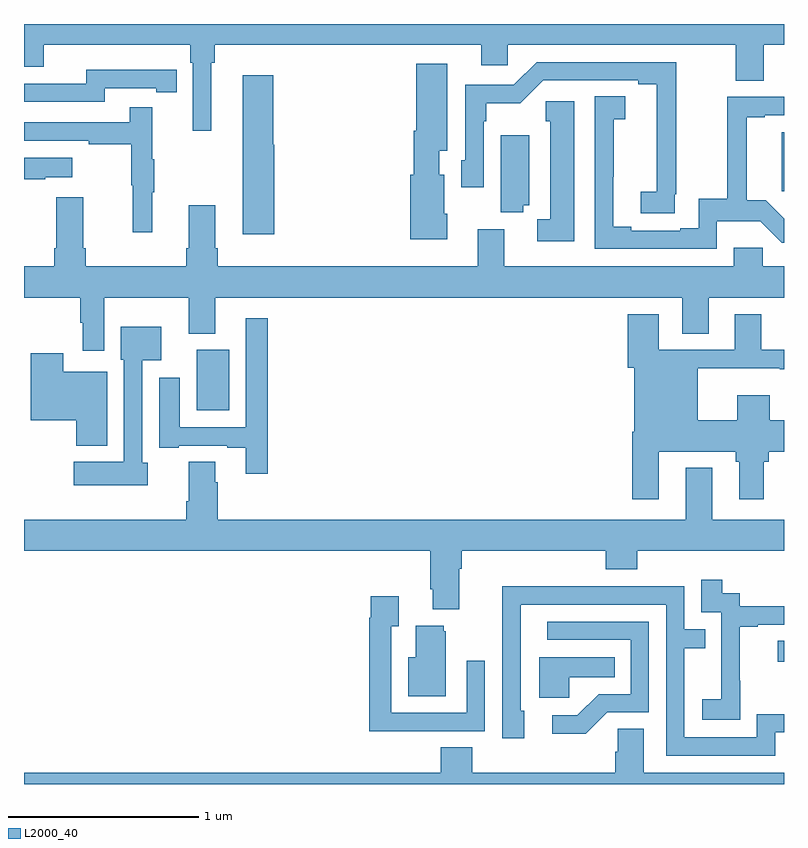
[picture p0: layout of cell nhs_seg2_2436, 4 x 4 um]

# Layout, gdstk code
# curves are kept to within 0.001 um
import gdstk
lib = gdstk.Library(unit=1e-6, precision=1e-09)
def R(c, l, rs):  # rectangles x0, y0, x1, y1
    for r in rs: c.add(gdstk.rectangle(r[:2], r[2:], *l))
def P(c, l, *ps):  # polygons
    for p in ps: c.add(gdstk.Polygon(p, *l))
L2000_40 = (2000, 40)

nhs_seg2_2436 = lib.new_cell('nhs_seg2_2436')
R(nhs_seg2_2436, L2000_40, [(242.967,588.443,243,588.553), (239.909,589.766,240.079,590.086), (242.987,590.919,243,591.229)])
P(nhs_seg2_2436, L2000_40, [(239,591.575),(239.104,591.575),(239.104,591.692),(239.876,591.692),(239.876,591.596),(239.889,591.596),(239.889,591.237),(239.986,591.237),(239.986,591.596),(240.005,591.596),(240.005,591.692),(241.406,591.692),(241.406,591.582),(241.545,591.582),(241.545,591.692),(242.746,591.692),(242.746,591.502),(242.893,591.502),(242.893,591.692),(243,591.692),(243,591.8),(239,591.8)],
  [(242.426,590.905),(242.432,590.905),(242.432,591.6),(241.698,591.6),(241.578,591.48),(241.323,591.48),(241.323,591.084),(241.302,591.084),(241.302,590.94),(241.419,590.94),(241.419,591.287),(241.432,591.287),(241.432,591.383),(241.613,591.383),(241.734,591.504),(242.234,591.504),(242.234,591.484),(242.33,591.484),(242.329,590.918),(242.247,590.918),(242.247,590.803),(242.426,590.803)],
  [(241.228,590.802),(241.212,590.802),(241.212,591.006),(241.186,591.006),(241.186,591.134),(241.228,591.134),(241.228,591.592),(241.064,591.592),(241.064,591.238),(241.052,591.238),(241.052,591.006),(241.034,591.006),(241.034,590.666),(241.228,590.666)],
  [(239.424,591.462),(239.696,591.462),(239.696,591.442),(239.804,591.442),(239.804,591.558),(239.696,591.558),(239.696,591.559),(239.328,591.559),(239.328,591.486),(239,591.486),(239,591.39),(239.424,591.39)],
  [(240.316,591.165),(240.311,591.165),(240.311,591.529),(240.152,591.529),(240.152,590.694),(240.316,590.694)],
  [(242.646,590.762),(242.875,590.762),(242.988,590.649),(243,590.649),(243,590.775),(242.903,590.872),(242.804,590.872),(242.804,591.309),(242.899,591.309),(242.899,591.321),(243,591.321),(243,591.417),(242.701,591.417),(242.701,590.879),(242.55,590.879),(242.55,590.726),(242.453,590.726),(242.453,590.712),(242.197,590.712),(242.197,590.732),(242.101,590.732),(242.101,590.995),(242.103,590.995),(242.103,591.299),(242.164,591.299),(242.164,591.419),(242.004,591.419),(242.004,590.616),(242.646,590.616)],
  [(241.897,591.394),(241.747,591.394),(241.747,591.288),(241.769,591.288),(241.769,590.772),(241.701,590.772),(241.701,590.657),(241.897,590.657)],
  [(239.675,590.915),(239.686,590.915),(239.686,591.089),(239.675,591.089),(239.675,591.361),(239.557,591.361),(239.557,591.282),(239,591.282),(239,591.186),(239.341,591.186),(239.341,591.166),(239.565,591.166),(239.565,590.952),(239.572,590.952),(239.572,590.703),(239.675,590.703)],
  [(241.628,590.846),(241.66,590.846),(241.66,591.214),(241.508,591.214),(241.508,590.809),(241.628,590.809)],
  [(239.111,590.993),(239.254,590.993),(239.254,591.097),(239,591.097),(239,590.983),(239.111,590.983)],
  [(239.422,590.36),(239.867,590.36),(239.867,590.171),(240.007,590.171),(240.007,590.36),(242.465,590.36),(242.465,590.17),(242.605,590.17),(242.605,590.36),(243,590.36),(243,590.524),(242.887,590.524),(242.887,590.622),(242.735,590.622),(242.735,590.524),(241.528,590.524),(241.528,590.719),(241.388,590.719),(241.388,590.524),(240.02,590.524),(240.02,590.62),(240.007,590.62),(240.007,590.845),(239.867,590.845),(239.867,590.62),(239.855,590.62),(239.855,590.524),(239.324,590.524),(239.324,590.62),(239.311,590.62),(239.311,590.887),(239.171,590.887),(239.171,590.62),(239.159,590.62),(239.159,590.524),(239,590.524),(239,590.36),(239.297,590.36),(239.297,590.228),(239.309,590.228),(239.309,590.079),(239.422,590.079)],
  [(242.341,589.55),(242.746,589.55),(242.746,589.497),(242.765,589.497),(242.765,589.299),(242.893,589.299),(242.893,589.497),(242.919,589.497),(242.919,589.55),(243,589.55),(243,589.714),(242.924,589.714),(242.924,589.846),(242.753,589.846),(242.753,589.714),(242.545,589.714),(242.545,589.988),(242.977,589.988),(242.977,589.984),(243,589.984),(243,590.085),(242.881,590.085),(242.881,590.272),(242.741,590.272),(242.741,590.085),(242.341,590.085),(242.341,590.272),(242.177,590.272),(242.177,589.992),(242.213,589.992),(242.213,589.654),(242.201,589.654),(242.201,589.299),(242.341,589.299)],
  [(240.284,590.251),(240.168,590.251),(240.168,589.677),(239.821,589.677),(239.821,589.939),(239.711,589.939),(239.711,589.569),(239.815,589.569),(239.815,589.581),(240.071,589.581),(240.071,589.569),(240.167,589.569),(240.167,589.434),(240.284,589.434)],
  [(239.65,589.491),(239.622,589.491),(239.622,590.03),(239.722,590.03),(239.722,590.206),(239.51,590.206),(239.51,590.034),(239.526,590.034),(239.526,589.495),(239.262,589.495),(239.262,589.373),(239.65,589.373)],
  [(239.437,589.969),(239.206,589.969),(239.206,590.068),(239.036,590.068),(239.036,589.715),(239.276,589.715),(239.276,589.58),(239.437,589.58)],
  [(241.291,588.932),(241.304,588.932),(241.304,589.028),(242.063,589.028),(242.063,588.929),(242.228,588.929),(242.228,589.028),(243,589.028),(243,589.192),(242.623,589.192),(242.623,589.465),(242.483,589.465),(242.483,589.192),(240.02,589.192),(240.02,589.388),(240.007,589.388),(240.007,589.496),(239.867,589.496),(239.867,589.288),(239.855,589.288),(239.855,589.192),(239,589.192),(239,589.028),(241.139,589.028),(241.139,588.826),(241.151,588.826),(241.151,588.719),(241.291,588.719)],
  [(242.769,588.343),(242.768,588.343),(242.768,588.627),(242.863,588.627),(242.863,588.639),(243,588.639),(243,588.735),(242.766,588.735),(242.766,588.804),(242.674,588.804),(242.674,588.874),(242.565,588.874),(242.565,588.705),(242.67,588.705),(242.67,588.476),(242.669,588.476),(242.669,588.247),(242.571,588.247),(242.571,588.137),(242.769,588.137)],
  [(242.953,588.072),(243,588.072),(243,588.168),(242.856,588.168),(242.856,588.045),(242.475,588.045),(242.475,588.514),(242.585,588.514),(242.585,588.615),(242.475,588.615),(242.475,588.84),(241.979,588.84),(241.979,588.842),(241.516,588.842),(241.516,588.535),(241.518,588.535),(241.518,588.042),(241.633,588.042),(241.633,588.186),(241.614,588.186),(241.614,588.49),(241.615,588.49),(241.615,588.744),(242.379,588.744),(242.379,587.949),(242.953,587.949)],
  [(241.109,588.078),(241.425,588.078),(241.425,588.448),(241.329,588.448),(241.329,588.174),(240.933,588.174),(240.933,588.631),(240.973,588.631),(240.973,588.787),(240.825,588.787),(240.825,588.674),(240.817,588.674),(240.817,588.077),(241.109,588.077)],
  [(242.005,588.112),(242.07,588.177),(242.289,588.177),(242.289,588.654),(241.755,588.654),(241.755,588.558),(242.193,588.558),(242.193,588.273),(242.024,588.273),(241.913,588.162),(241.779,588.162),(241.779,588.065),(241.957,588.065)],
  [(241.219,588.603),(241.208,588.603),(241.208,588.634),(241.061,588.634),(241.061,588.466),(241.022,588.466),(241.022,588.263),(241.219,588.263)],
  [(241.869,588.362),(242.108,588.362),(242.108,588.466),(241.712,588.466),(241.712,588.254),(241.869,588.254)],
  [(243,587.86),(242.263,587.86),(242.263,588.092),(242.124,588.092),(242.124,587.969),(242.111,587.969),(242.111,587.86),(241.358,587.86),(241.358,587.993),(241.193,587.993),(241.193,587.86),(239,587.86),(239,587.8),(243,587.8)])

lib.write_gds('nhs_seg2_2436.gds')
